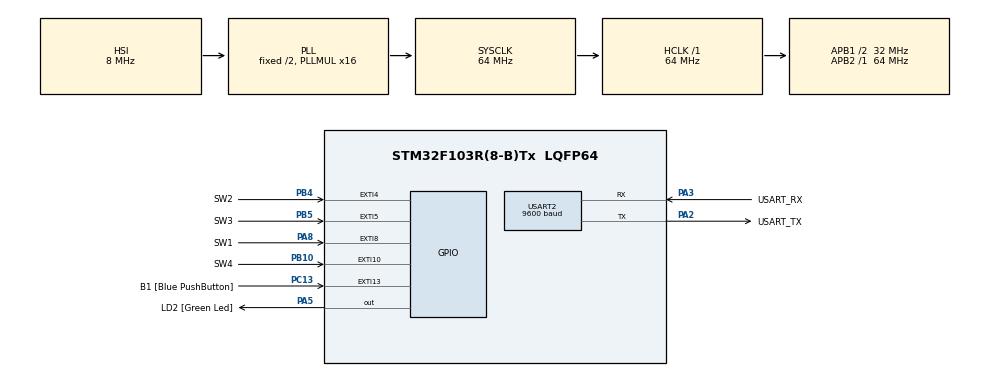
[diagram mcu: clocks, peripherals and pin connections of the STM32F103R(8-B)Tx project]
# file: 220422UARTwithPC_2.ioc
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Mcu.Family=STM32F1
Mcu.Name=STM32F103R(8-B)Tx
Mcu.Package=LQFP64
NVIC.EXTI15_10_IRQn=true\:0\:0\:false\:false\:true\:true\:true\:true
NVIC.EXTI4_IRQn=true\:0\:0\:false\:false\:true\:true\:true\:true
NVIC.EXTI9_5_IRQn=true\:0\:0\:false\:false\:true\:true\:true\:true
NVIC.PriorityGroup=NVIC_PRIORITYGROUP_4
PA13.GPIO_Label=TMS
PA13.Mode=Serial_Wire
PA13.Signal=SYS_JTMS-SWDIO
PA14.GPIO_Label=TCK
PA14.Mode=Serial_Wire
PA14.Signal=SYS_JTCK-SWCLK
PA2.GPIO_Label=USART_TX
PA2.GPIO_Mode=GPIO_MODE_AF_PP
PA2.GPIO_PuPd=GPIO_NOPULL
PA2.GPIO_Speed=GPIO_SPEED_FREQ_LOW
PA2.Mode=Asynchronous
PA2.Signal=USART2_TX
PA3.GPIO_Label=USART_RX
PA3.GPIO_Mode=GPIO_MODE_AF_PP
PA3.GPIO_PuPd=GPIO_NOPULL
PA3.GPIO_Speed=GPIO_SPEED_FREQ_LOW
PA3.Mode=Asynchronous
PA3.Signal=USART2_RX
PA5.GPIO_Label=LD2 [Green Led]
PA5.GPIO_ModeDefaultOutputPP=GPIO_MODE_OUTPUT_PP
PA5.GPIO_PuPd=GPIO_NOPULL
PA5.GPIO_Speed=GPIO_SPEED_FREQ_LOW
PA5.Signal=GPIO_Output
PA8.GPIO_Label=SW1
PA8.Signal=GPXTI8
PB10.GPIO_Label=SW4
PB10.Signal=GPXTI10
PB3.GPIO_Label=SWO
PB3.Signal=SYS_JTDO-TRACESWO
PB4.GPIO_Label=SW2
PB4.Signal=GPXTI4
PB5.GPIO_Label=SW3
PB5.Signal=GPXTI5
PC13-TAMPER-RTC.GPIO_Label=B1 [Blue PushButton]
PC13-TAMPER-RTC.GPIO_PuPd=GPIO_NOPULL
PC13-TAMPER-RTC.Signal=GPXTI13
PC14-OSC32_IN.Mode=LSE-External-Oscillator
PC14-OSC32_IN.Signal=RCC_OSC32_IN
PC15-OSC32_OUT.Mode=LSE-External-Oscillator
PC15-OSC32_OUT.Signal=RCC_OSC32_OUT
PD0-OSC_IN.Mode=HSE-External-Clock-Source
PD0-OSC_IN.Signal=RCC_OSC_IN
PD1-OSC_OUT.Mode=HSE-External-Clock-Source
PD1-OSC_OUT.Signal=RCC_OSC_OUT
ProjectManager.HeapSize=0x200
ProjectManager.StackSize=0x400
ProjectManager.TargetToolchain=STM32CubeIDE
RCC.AHBFreq_Value=64000000
RCC.APB1CLKDivider=RCC_HCLK_DIV2
RCC.APB1Freq_Value=32000000
RCC.APB1TimFreq_Value=64000000
RCC.APB2Freq_Value=64000000
RCC.APB2TimFreq_Value=64000000
RCC.HCLKFreq_Value=64000000
RCC.PLLMUL=RCC_PLL_MUL16
RCC.RTCClockSelection=RCC_RTCCLKSOURCE_LSE
RCC.SYSCLKFreq_VALUE=64000000
RCC.SYSCLKSource=RCC_SYSCLKSOURCE_PLLCLK
RCC.USBFreq_Value=64000000
USART2.BaudRate=9600
USART2.VirtualMode=VM_ASYNC
board=NUCLEO-F103RB

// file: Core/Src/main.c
/* USER CODE BEGIN Header */
/**
  ******************************************************************************
  * @file           : main.c
  * @brief          : Main program body
  ******************************************************************************
  * @attention
  *
  * Copyright (c) 2022 STMicroelectronics.
  * All rights reserved.
  *
  * This software is licensed under terms that can be found in the LICENSE file
  * in the root directory of this software component.
  * If no LICENSE file comes with this software, it is provided AS-IS.
  *
  ******************************************************************************
  */
/* USER CODE END Header */
#include "main.h"

/* USER CODE BEGIN PD */
#define TxBufferSize (countof(TxBuffer)-1)
#define TxBufferSize_2 (countof(TxBuffer_2)-1)
#define TxBufferSize_3 (countof(TxBuffer_3)-1)
#define TxBufferSize_4 (countof(TxBuffer_4)-1)
#define TxBufferSize_5 (countof(TxBuffer_5)-1)
#define RxBufferSize 0xFF
#define countof(a) (sizeof(a) / sizeof(*(a)))
/* USER CODE END PD */

 UART_HandleTypeDef huart2;

void SystemClock_Config(void);
static void MX_GPIO_Init(void);
static void MX_USART2_UART_Init(void);

/* USER CODE BEGIN 0 */
uint8_t TxBuffer_2[] = "\n\rButton1 Pressed!!\n\r\n\r";
uint8_t TxBuffer_3[] = "\n\rButton2 Pressed!!\n\r\n\r";
uint8_t TxBuffer_4[] = "\n\rButton3 Pressed!!\n\r\n\r";
uint8_t TxBuffer_5[] = "\n\rButton4 Pressed!!\n\r\n\r";
uint8_t TxBuffer[] = "\n\rUART Example 2 (Transmission Success!!)\n\r\n\r";
uint8_t RxBuffer[RxBufferSize];

/* USER CODE END 0 */

int main(void)
{

  /* MCU Configuration--------------------------------------------------------*/

  /* Reset of all peripherals, Initializes the Flash interface and the Systick. */
  HAL_Init();

  /* Configure the system clock */
  SystemClock_Config();

  /* Initialize all configured peripherals */
  MX_GPIO_Init();
  MX_USART2_UART_Init();

  /* Infinite loop */
  while (1)
  {

  }
}

void SystemClock_Config(void)
{
  RCC_OscInitTypeDef RCC_OscInitStruct = {0};
  RCC_ClkInitTypeDef RCC_ClkInitStruct = {0};

  /** Initializes the RCC Oscillators according to the specified parameters
  * in the RCC_OscInitTypeDef structure.
  */
  RCC_OscInitStruct.OscillatorType = RCC_OSCILLATORTYPE_HSI;
  RCC_OscInitStruct.HSIState = RCC_HSI_ON;
  RCC_OscInitStruct.HSICalibrationValue = RCC_HSICALIBRATION_DEFAULT;
  RCC_OscInitStruct.PLL.PLLState = RCC_PLL_ON;
  RCC_OscInitStruct.PLL.PLLSource = RCC_PLLSOURCE_HSI_DIV2;
  RCC_OscInitStruct.PLL.PLLMUL = RCC_PLL_MUL16;
  if (HAL_RCC_OscConfig(&RCC_OscInitStruct) != HAL_OK)
  {
    Error_Handler();
  }

  /** Initializes the CPU, AHB and APB buses clocks
  */
  RCC_ClkInitStruct.ClockType = RCC_CLOCKTYPE_HCLK|RCC_CLOCKTYPE_SYSCLK
                              |RCC_CLOCKTYPE_PCLK1|RCC_CLOCKTYPE_PCLK2;
  RCC_ClkInitStruct.SYSCLKSource = RCC_SYSCLKSOURCE_PLLCLK;
  RCC_ClkInitStruct.AHBCLKDivider = RCC_SYSCLK_DIV1;
  RCC_ClkInitStruct.APB1CLKDivider = RCC_HCLK_DIV2;
  RCC_ClkInitStruct.APB2CLKDivider = RCC_HCLK_DIV1;

  if (HAL_RCC_ClockConfig(&RCC_ClkInitStruct, FLASH_LATENCY_2) != HAL_OK)
  {
    Error_Handler();
  }
}

static void MX_USART2_UART_Init(void)
{

  huart2.Instance = USART2;
  huart2.Init.BaudRate = 9600;
  huart2.Init.WordLength = UART_WORDLENGTH_8B;
  huart2.Init.StopBits = UART_STOPBITS_1;
  huart2.Init.Parity = UART_PARITY_NONE;
  huart2.Init.Mode = UART_MODE_TX_RX;
  huart2.Init.HwFlowCtl = UART_HWCONTROL_NONE;
  huart2.Init.OverSampling = UART_OVERSAMPLING_16;
  if (HAL_UART_Init(&huart2) != HAL_OK)
  {
    Error_Handler();
  }

}

static void MX_GPIO_Init(void)
{
  GPIO_InitTypeDef GPIO_InitStruct = {0};

  /* GPIO Ports Clock Enable */
  __HAL_RCC_GPIOC_CLK_ENABLE();
  __HAL_RCC_GPIOD_CLK_ENABLE();
  __HAL_RCC_GPIOA_CLK_ENABLE();
  __HAL_RCC_GPIOB_CLK_ENABLE();

  /*Configure GPIO pin Output Level */
  HAL_GPIO_WritePin(LD2_GPIO_Port, LD2_Pin, GPIO_PIN_RESET);

  /*Configure GPIO pin : B1_Pin */
  GPIO_InitStruct.Pin = B1_Pin;
  GPIO_InitStruct.Mode = GPIO_MODE_IT_RISING;
  GPIO_InitStruct.Pull = GPIO_NOPULL;
  HAL_GPIO_Init(B1_GPIO_Port, &GPIO_InitStruct);

  /*Configure GPIO pin : LD2_Pin */
  GPIO_InitStruct.Pin = LD2_Pin;
  GPIO_InitStruct.Mode = GPIO_MODE_OUTPUT_PP;
  GPIO_InitStruct.Pull = GPIO_NOPULL;
  GPIO_InitStruct.Speed = GPIO_SPEED_FREQ_LOW;
  HAL_GPIO_Init(LD2_GPIO_Port, &GPIO_InitStruct);

  /*Configure GPIO pins : SW4_Pin SW2_Pin SW3_Pin */
  GPIO_InitStruct.Pin = SW4_Pin|SW2_Pin|SW3_Pin;
  GPIO_InitStruct.Mode = GPIO_MODE_IT_RISING;
  GPIO_InitStruct.Pull = GPIO_NOPULL;
  HAL_GPIO_Init(GPIOB, &GPIO_InitStruct);

  /*Configure GPIO pin : SW1_Pin */
  GPIO_InitStruct.Pin = SW1_Pin;
  GPIO_InitStruct.Mode = GPIO_MODE_IT_RISING;
  GPIO_InitStruct.Pull = GPIO_NOPULL;
  HAL_GPIO_Init(SW1_GPIO_Port, &GPIO_InitStruct);

  /* EXTI interrupt init*/
  HAL_NVIC_SetPriority(EXTI4_IRQn, 0, 0);
  HAL_NVIC_EnableIRQ(EXTI4_IRQn);

  HAL_NVIC_SetPriority(EXTI9_5_IRQn, 0, 0);
  HAL_NVIC_EnableIRQ(EXTI9_5_IRQn);

  HAL_NVIC_SetPriority(EXTI15_10_IRQn, 0, 0);
  HAL_NVIC_EnableIRQ(EXTI15_10_IRQn);

}

/* USER CODE BEGIN 4 */
void HAL_GPIO_EXTI_Callback(uint16_t GPIO_PIN)
	{
		if(GPIO_PIN == SW1_Pin)
		{
			HAL_UART_Transmit(&huart2, TxBuffer_2, TxBufferSize_2, 0xFFFF);
		}

		if(GPIO_PIN == SW2_Pin)
		{
			HAL_UART_Transmit(&huart2, TxBuffer_3, TxBufferSize_3, 0xFFFF);
		}

		if(GPIO_PIN == SW3_Pin)
		{
			HAL_UART_Transmit(&huart2, TxBuffer_4, TxBufferSize_4, 0xFFFF);
		}

		if(GPIO_PIN == SW4_Pin)
		{
			HAL_UART_Transmit(&huart2, TxBuffer_5, TxBufferSize_5, 0xFFFF);
		}
	}
/* USER CODE END 4 */

void Error_Handler(void)
{
  __disable_irq();
  while (1)
  {
  }
}
